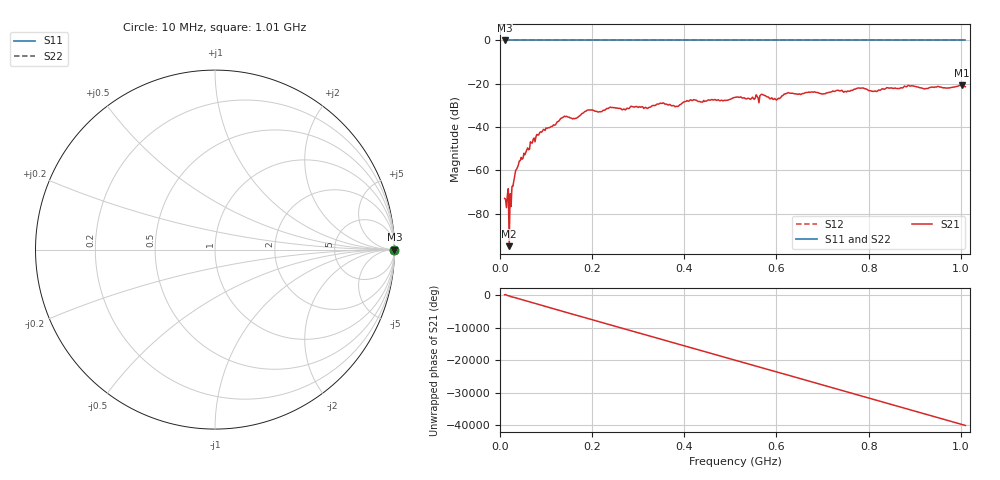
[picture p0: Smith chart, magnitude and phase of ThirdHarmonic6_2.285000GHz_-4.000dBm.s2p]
! 8/17/2025 2:59:23 AM
! C:\ANRITSUVNA\TEMP\TEMP.S2P
! CHANNEL.1
! TR.MEASUREMENT
! RAW.DATA
! RF.CORRECTION.OFF
! AVERAGING.OFF
! IF.BANDWIDTH: 5KHZ
! SWEEPTYPE:  FREQ.SWEEP(Linear)
! Reference Plane Port Info
! PORT:  PORT1  PORT2
! DISTANCE:  0  m  0  m
! TIME:  0  s  0  s
! PHASE.OFFSET:  0  deg.  0  deg.
! LOSS:  0  dB  0  dB
! REF.LOSS:  0  dB  0  dB
! REF.FREQ:  0  Hz  0  Hz
! Power Info
! POWER:  -20  dBm  -20  dBm
! EFF.POWER:  -20  dBm  -20  dBm
! SOURCE.ATTEN:  0  dB  0  dB
! TEST.ATTEN:  0  dB  0  dB
# GHZ S RI R 50.0
! FREQ.GHZ  S11RE  S11IM  S21RE  S21IM  S12RE  S12IM  S22RE  S22IM
!; PortSelection: Port_12
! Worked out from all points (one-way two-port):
!   501 points, 10 MHz to 1.01 GHz, reference 50 ohm
!   highest |S21| = -20.68 dB at 1.002 GHz (marker M1); lowest = -94.9 dB at 20 MHz (marker M2)
!   lowest |S11| = 0.0 dB at 10 MHz (marker M3)
!   |S11| at or under -10 dB: nowhere
!   |S22| runs from 0.0 to 0.0 dB; largest |S21 - S12| = 1.1
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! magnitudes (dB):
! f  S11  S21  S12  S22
! 10 MHz  0.0  -72.9  0.0  0.0
! 20 MHz  0.0  -94.9  0.0  0.0
! 24 MHz  0.0  -76.6  0.0  0.0
! 30 MHz  0.0  -64.7  0.0  0.0
! 38 MHz  0.0  -58.5  0.0  0.0
! 70 MHz  0.0  -47.3  0.0  0.0
! 136 MHz  0.0  -35.6  0.0  0.0
! 162 MHz  0.0  -36.1  0.0  0.0
! 178 MHz  0.0  -33.7  0.0  0.0
! 192 MHz  0.0  -32.1  0.0  0.0
! 316 MHz  0.0  -30.9  0.0  0.0
! 344 MHz  0.0  -29.4  0.0  0.0
! 384 MHz  0.0  -30.4  0.0  0.0
! 416 MHz  0.0  -27.7  0.0  0.0
! 510 MHz  0.0  -26.2  0.0  0.0
! 570 MHz  0.0  -25.0  0.0  0.0
! 598 MHz  0.0  -27.1  0.0  0.0
! 622 MHz  0.0  -24.4  0.0  0.0
! 678 MHz  0.0  -23.8  0.0  0.0
! 844 MHz  0.0  -22.0  0.0  0.0
! 1.002 GHz  0.0  -20.7  0.0  0.0
! 1.01 GHz  0.0  -21.3  0.0  0.0
